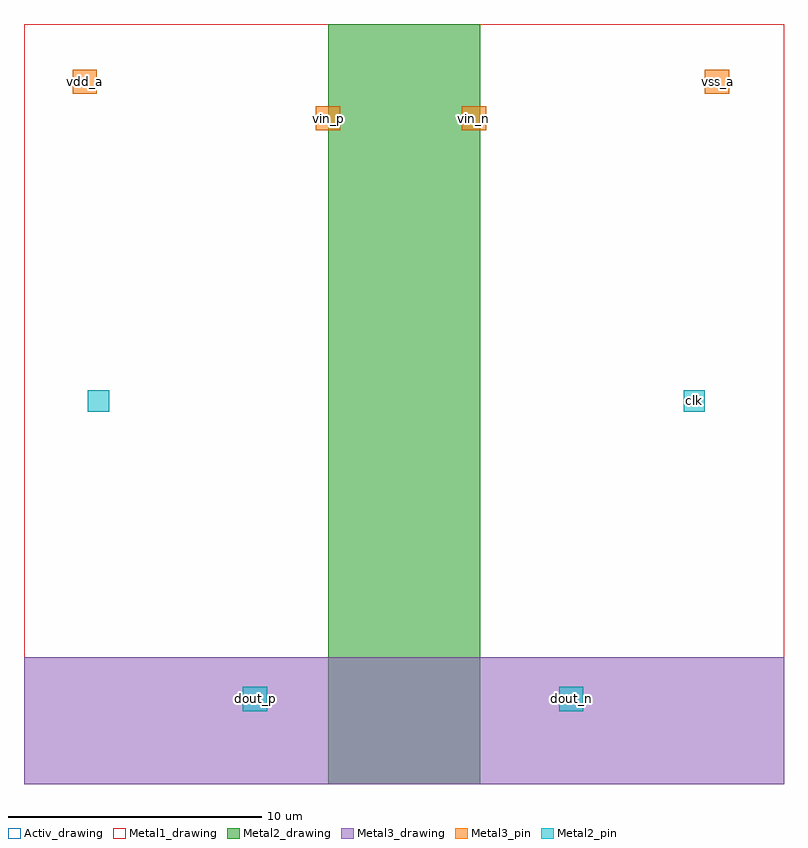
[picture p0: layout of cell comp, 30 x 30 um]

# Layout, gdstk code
import gdstk
lib = gdstk.Library(unit=1e-6, precision=1e-09)
def R(c, l, rs):  # rectangles x0, y0, x1, y1
    for r in rs: c.add(gdstk.rectangle(r[:2], r[2:], *l))
Activ_drawing = (1, 0)
Metal1_drawing = (8, 0)
Metal2_drawing = (10, 0)
Metal2_pin = (10, 2)
Metal3_drawing = (30, 0)
Metal3_pin = (30, 2)

comp = lib.new_cell('comp')
R(comp, Activ_drawing, [(0,0,30,30)])
R(comp, Metal1_drawing, [(0,0,30,30)])
R(comp, Metal2_drawing, [(12,0,18,30)])
R(comp, Metal2_pin, [(8.64,2.88,9.6,3.84), (21.12,2.88,22.08,3.84), (2.52,14.7,3.36,15.54), (26.04,14.7,26.88,15.54)])
R(comp, Metal3_drawing, [(0,0,30,5)])
R(comp, Metal3_pin, [(11.52,25.8,12.48,26.76), (17.28,25.8,18.24,26.76), (1.92,27.24,2.88,28.2), (26.88,27.24,27.84,28.2)])
comp.add(gdstk.Label('dout_p', (9.12,3.36), layer=10, texttype=1))
comp.add(gdstk.Label('dout_n', (21.6,3.36), layer=10, texttype=1))
comp.add(gdstk.Label('clk', (26.46,15.12), layer=10, texttype=1))
comp.add(gdstk.Label('vin_p', (12,26.28), layer=30, texttype=1))
comp.add(gdstk.Label('vin_n', (17.76,26.28), layer=30, texttype=1))
comp.add(gdstk.Label('vdd_a', (2.4,27.72), layer=30, texttype=1))
comp.add(gdstk.Label('vss_a', (27.36,27.72), layer=30, texttype=1))

lib.write_gds('comp.gds')
